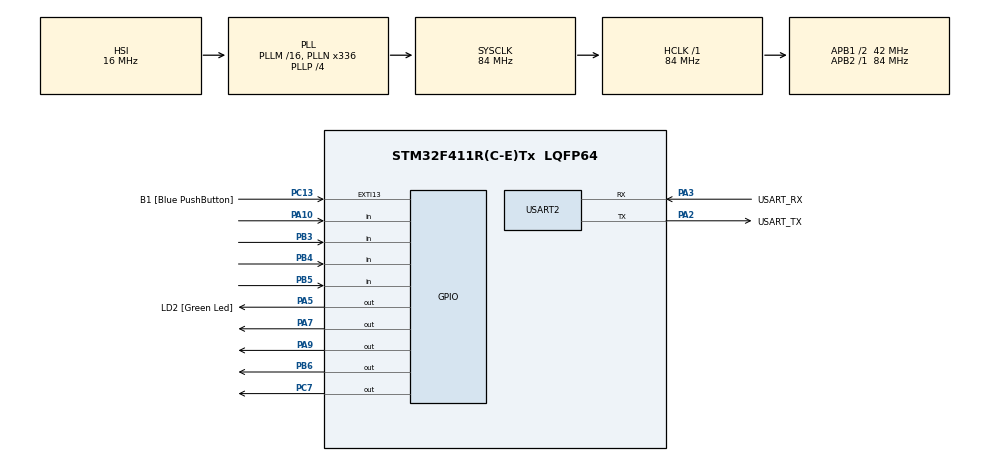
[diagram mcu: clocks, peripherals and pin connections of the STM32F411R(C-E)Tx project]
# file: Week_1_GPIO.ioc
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Mcu.Family=STM32F4
Mcu.Name=STM32F411R(C-E)Tx
Mcu.Package=LQFP64
NVIC.PriorityGroup=NVIC_PRIORITYGROUP_0
PA10.Signal=GPIO_Input
PA13.GPIO_Label=TMS
PA13.Mode=Serial_Wire
PA13.Signal=SYS_JTMS-SWDIO
PA14.GPIO_Label=TCK
PA14.Mode=Serial_Wire
PA14.Signal=SYS_JTCK-SWCLK
PA2.GPIO_Label=USART_TX
PA2.Mode=Asynchronous
PA2.Signal=USART2_TX
PA3.GPIO_Label=USART_RX
PA3.Mode=Asynchronous
PA3.Signal=USART2_RX
PA5.GPIO_Label=LD2 [Green Led]
PA5.Signal=GPIO_Output
PA7.Signal=GPIO_Output
PA9.Signal=GPIO_Output
PB3.Signal=GPIO_Input
PB4.Signal=GPIO_Input
PB5.Signal=GPIO_Input
PB6.Signal=GPIO_Output
PC13-ANTI_TAMP.GPIO_Label=B1 [Blue PushButton]
PC13-ANTI_TAMP.GPIO_ModeDefaultEXTI=GPIO_MODE_IT_FALLING
PC13-ANTI_TAMP.Signal=GPXTI13
PC14-OSC32_IN.Mode=LSE-External-Oscillator
PC14-OSC32_IN.Signal=RCC_OSC32_IN
PC15-OSC32_OUT.Mode=LSE-External-Oscillator
PC15-OSC32_OUT.Signal=RCC_OSC32_OUT
PC7.Signal=GPIO_Output
PH0\ -\ OSC_IN.Mode=HSE-External-Clock-Source
PH0\ -\ OSC_IN.Signal=RCC_OSC_IN
PH1\ -\ OSC_OUT.Mode=HSE-External-Clock-Source
PH1\ -\ OSC_OUT.Signal=RCC_OSC_OUT
ProjectManager.HeapSize=0x200
ProjectManager.StackSize=0x400
ProjectManager.TargetToolchain=STM32CubeIDE
RCC.48MHZClocksFreq_Value=84000000
RCC.AHBFreq_Value=84000000
RCC.APB1CLKDivider=RCC_HCLK_DIV2
RCC.APB1Freq_Value=42000000
RCC.APB1TimFreq_Value=84000000
RCC.APB2Freq_Value=84000000
RCC.APB2TimFreq_Value=84000000
RCC.CortexFreq_Value=84000000
RCC.FLatency-AdvancedSettings=FLASH_LATENCY_2
RCC.HCLKFreq_Value=84000000
RCC.HSE_VALUE=8000000
RCC.HSI_VALUE=16000000
RCC.PLLN=336
RCC.PLLP=RCC_PLLP_DIV4
RCC.SYSCLKFreq_VALUE=84000000
RCC.SYSCLKSource=RCC_SYSCLKSOURCE_PLLCLK
RCC.VCOOutputFreq_Value=336000000
USART2.VirtualMode=VM_ASYNC
board=NUCLEO-F411RE

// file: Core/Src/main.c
/* USER CODE BEGIN Header */
/**
  ******************************************************************************
  * @file           : main.c
  * @brief          : Main program body
  ******************************************************************************
  * @attention
  *
  * <h2><center>&copy; Copyright (c) 2021 STMicroelectronics.
  * All rights reserved.</center></h2>
  *
  * This software component is licensed by ST under BSD 3-Clause license,
  * the "License"; You may not use this file except in compliance with the
  * License. You may obtain a copy of the License at:
  *                        opensource.org/licenses/BSD-3-Clause
  *
  ******************************************************************************
  */
/* USER CODE END Header */
#include "main.h"

UART_HandleTypeDef huart2;

void SystemClock_Config(void);
static void MX_GPIO_Init(void);
static void MX_USART2_UART_Init(void);

int main(void)
{

  /* MCU Configuration--------------------------------------------------------*/

  /* Reset of all peripherals, Initializes the Flash interface and the Systick. */
  HAL_Init();

  /* Configure the system clock */
  SystemClock_Config();

  /* Initialize all configured peripherals */
  MX_GPIO_Init();
  MX_USART2_UART_Init();
  /* USER CODE BEGIN 2 */

  uint32_t Button_Timestamp = 0;

  GPIO_PinState SwitchState[2]; //NOW,LAST
  uint16_t LED1_Half_Preiod = 1000; // 1Hz
  uint32_t Timestamp = 0;

  uint8_t Switch_2_State[2];
  uint8_t LED2 = 0;

  uint8_t Switch_3_State[2];
  uint8_t SW3_Mode = 0;
  uint8_t LED3 = 0;
  uint32_t Timestamp_3 = 0;
  uint16_t ONOFF = 1500;
  uint8_t Change = 0;
  /* USER CODE END 2 */

  /* Infinite loop */
  while (1)
  {

    /* USER CODE BEGIN 3 */

	  if (HAL_GetTick() - Button_Timestamp >= 100) // Set Sampling Time
	  {
		  Button_Timestamp = HAL_GetTick();
		  // Switch = HIGH
		  // Switch Push = LOW

		  // Task 1
		  SwitchState[0] = HAL_GPIO_ReadPin(GPIOA, GPIO_PIN_10);
		  if (SwitchState[1] == GPIO_PIN_SET && SwitchState[0] == GPIO_PIN_RESET)
		  {
				// Change LED1_Frequency
				if (LED1_Half_Preiod == 1000) // 0.5 Hz
				{
					LED1_Half_Preiod = 500;
				}
				else if (LED1_Half_Preiod == 500) // 1 Hz
				{
					LED1_Half_Preiod = 250;
				}
				else if (LED1_Half_Preiod == 250) // 2 Hz
				{
					LED1_Half_Preiod = 167;
				}
				else if (LED1_Half_Preiod == 167) // 3 Hz
				{
					LED1_Half_Preiod = 1000;
				}
		  }
		  SwitchState[1] = SwitchState[0];

		  // Task 2
		  Switch_2_State[0] = HAL_GPIO_ReadPin(GPIOB, GPIO_PIN_3);
		  if (Switch_2_State[1] == GPIO_PIN_SET && Switch_2_State[0] == GPIO_PIN_RESET)
		  {
			  LED2 ^= 1;
		  }
		  Switch_2_State[1] = Switch_2_State[0];

		  // Task 3
		  Switch_3_State[0] = HAL_GPIO_ReadPin(GPIOB, GPIO_PIN_5);
		  if (Switch_3_State[1] == GPIO_PIN_SET && Switch_3_State[0] == GPIO_PIN_RESET)
		  {
			  SW3_Mode ^= 1;
		  }
		  Switch_3_State[1] = Switch_3_State[0];
	  }

	  // Task 3 Time Control
	  // Task 3 ON 1.5 / OFF 0.5 s
	  if (SW3_Mode == 0)
	  {
		  if (HAL_GetTick() - Timestamp_3 >= ONOFF)
		  {
			  Timestamp_3 = HAL_GetTick();
			  LED3 ^= 1;
			  Change ^= 1;
			  if (Change == 0)
			  {
				  ONOFF = 1500;
			  }
			  if (Change == 1)
			  {
				  ONOFF = 500;
			  }
		  }
	  }
	  // Task 3 ON 0.5 / OFF 1.5 s
	  if (SW3_Mode == 1)
	  {
		  if (HAL_GetTick() - Timestamp_3 >= ONOFF)
		  {
			  Timestamp_3 = HAL_GetTick();
			  LED3 ^= 1;
			  Change ^= 1;
			  if (Change == 0)
			  {
				  ONOFF = 500;
			  }
			  if (Change == 1)
			  {
				  ONOFF = 1500;
			  }
		  }
	  }

	  // Task 1 Run LED
	  if (HAL_GetTick() - Timestamp >= LED1_Half_Preiod)
	  {
		  Timestamp = HAL_GetTick();

		  // Toggle LED
		  if (HAL_GPIO_ReadPin(GPIOA, GPIO_PIN_9) == GPIO_PIN_SET)
		  {
			  HAL_GPIO_WritePin(GPIOA, GPIO_PIN_9, GPIO_PIN_RESET);
		  }
		  else
		  {
			  HAL_GPIO_WritePin(GPIOA, GPIO_PIN_9, GPIO_PIN_SET);
		  }
	  }

	  // Task 2 Run LED2
	  HAL_GPIO_WritePin(GPIOC, GPIO_PIN_7, LED2);

	  // Task 3 Run LED3
	  HAL_GPIO_WritePin(GPIOB, GPIO_PIN_6, LED3);

  }
  /* USER CODE END 3 */
}

void SystemClock_Config(void)
{
  RCC_OscInitTypeDef RCC_OscInitStruct = {0};
  RCC_ClkInitTypeDef RCC_ClkInitStruct = {0};

  /** Configure the main internal regulator output voltage
  */
  __HAL_RCC_PWR_CLK_ENABLE();
  __HAL_PWR_VOLTAGESCALING_CONFIG(PWR_REGULATOR_VOLTAGE_SCALE1);
  /** Initializes the RCC Oscillators according to the specified parameters
  * in the RCC_OscInitTypeDef structure.
  */
  RCC_OscInitStruct.OscillatorType = RCC_OSCILLATORTYPE_HSI;
  RCC_OscInitStruct.HSIState = RCC_HSI_ON;
  RCC_OscInitStruct.HSICalibrationValue = RCC_HSICALIBRATION_DEFAULT;
  RCC_OscInitStruct.PLL.PLLState = RCC_PLL_ON;
  RCC_OscInitStruct.PLL.PLLSource = RCC_PLLSOURCE_HSI;
  RCC_OscInitStruct.PLL.PLLM = 16;
  RCC_OscInitStruct.PLL.PLLN = 336;
  RCC_OscInitStruct.PLL.PLLP = RCC_PLLP_DIV4;
  RCC_OscInitStruct.PLL.PLLQ = 4;
  if (HAL_RCC_OscConfig(&RCC_OscInitStruct) != HAL_OK)
  {
    Error_Handler();
  }
  /** Initializes the CPU, AHB and APB buses clocks
  */
  RCC_ClkInitStruct.ClockType = RCC_CLOCKTYPE_HCLK|RCC_CLOCKTYPE_SYSCLK
                              |RCC_CLOCKTYPE_PCLK1|RCC_CLOCKTYPE_PCLK2;
  RCC_ClkInitStruct.SYSCLKSource = RCC_SYSCLKSOURCE_PLLCLK;
  RCC_ClkInitStruct.AHBCLKDivider = RCC_SYSCLK_DIV1;
  RCC_ClkInitStruct.APB1CLKDivider = RCC_HCLK_DIV2;
  RCC_ClkInitStruct.APB2CLKDivider = RCC_HCLK_DIV1;

  if (HAL_RCC_ClockConfig(&RCC_ClkInitStruct, FLASH_LATENCY_2) != HAL_OK)
  {
    Error_Handler();
  }
}

static void MX_USART2_UART_Init(void)
{

  huart2.Instance = USART2;
  huart2.Init.BaudRate = 115200;
  huart2.Init.WordLength = UART_WORDLENGTH_8B;
  huart2.Init.StopBits = UART_STOPBITS_1;
  huart2.Init.Parity = UART_PARITY_NONE;
  huart2.Init.Mode = UART_MODE_TX_RX;
  huart2.Init.HwFlowCtl = UART_HWCONTROL_NONE;
  huart2.Init.OverSampling = UART_OVERSAMPLING_16;
  if (HAL_UART_Init(&huart2) != HAL_OK)
  {
    Error_Handler();
  }

}

static void MX_GPIO_Init(void)
{
  GPIO_InitTypeDef GPIO_InitStruct = {0};

  /* GPIO Ports Clock Enable */
  __HAL_RCC_GPIOC_CLK_ENABLE();
  __HAL_RCC_GPIOH_CLK_ENABLE();
  __HAL_RCC_GPIOA_CLK_ENABLE();
  __HAL_RCC_GPIOB_CLK_ENABLE();

  /*Configure GPIO pin Output Level */
  HAL_GPIO_WritePin(GPIOA, LD2_Pin|GPIO_PIN_7|GPIO_PIN_9, GPIO_PIN_RESET);

  /*Configure GPIO pin Output Level */
  HAL_GPIO_WritePin(GPIOC, GPIO_PIN_7, GPIO_PIN_RESET);

  /*Configure GPIO pin Output Level */
  HAL_GPIO_WritePin(GPIOB, GPIO_PIN_6, GPIO_PIN_RESET);

  /*Configure GPIO pin : B1_Pin */
  GPIO_InitStruct.Pin = B1_Pin;
  GPIO_InitStruct.Mode = GPIO_MODE_IT_FALLING;
  GPIO_InitStruct.Pull = GPIO_NOPULL;
  HAL_GPIO_Init(B1_GPIO_Port, &GPIO_InitStruct);

  /*Configure GPIO pins : LD2_Pin PA7 PA9 */
  GPIO_InitStruct.Pin = LD2_Pin|GPIO_PIN_7|GPIO_PIN_9;
  GPIO_InitStruct.Mode = GPIO_MODE_OUTPUT_PP;
  GPIO_InitStruct.Pull = GPIO_NOPULL;
  GPIO_InitStruct.Speed = GPIO_SPEED_FREQ_LOW;
  HAL_GPIO_Init(GPIOA, &GPIO_InitStruct);

  /*Configure GPIO pin : PC7 */
  GPIO_InitStruct.Pin = GPIO_PIN_7;
  GPIO_InitStruct.Mode = GPIO_MODE_OUTPUT_PP;
  GPIO_InitStruct.Pull = GPIO_NOPULL;
  GPIO_InitStruct.Speed = GPIO_SPEED_FREQ_LOW;
  HAL_GPIO_Init(GPIOC, &GPIO_InitStruct);

  /*Configure GPIO pin : PA10 */
  GPIO_InitStruct.Pin = GPIO_PIN_10;
  GPIO_InitStruct.Mode = GPIO_MODE_INPUT;
  GPIO_InitStruct.Pull = GPIO_NOPULL;
  HAL_GPIO_Init(GPIOA, &GPIO_InitStruct);

  /*Configure GPIO pins : PB3 PB4 PB5 */
  GPIO_InitStruct.Pin = GPIO_PIN_3|GPIO_PIN_4|GPIO_PIN_5;
  GPIO_InitStruct.Mode = GPIO_MODE_INPUT;
  GPIO_InitStruct.Pull = GPIO_NOPULL;
  HAL_GPIO_Init(GPIOB, &GPIO_InitStruct);

  /*Configure GPIO pin : PB6 */
  GPIO_InitStruct.Pin = GPIO_PIN_6;
  GPIO_InitStruct.Mode = GPIO_MODE_OUTPUT_PP;
  GPIO_InitStruct.Pull = GPIO_NOPULL;
  GPIO_InitStruct.Speed = GPIO_SPEED_FREQ_LOW;
  HAL_GPIO_Init(GPIOB, &GPIO_InitStruct);

}

void Error_Handler(void)
{
  __disable_irq();
  while (1)
  {
  }
}

/************************ (C) COPYRIGHT STMicroelectronics *****END OF FILE****/
